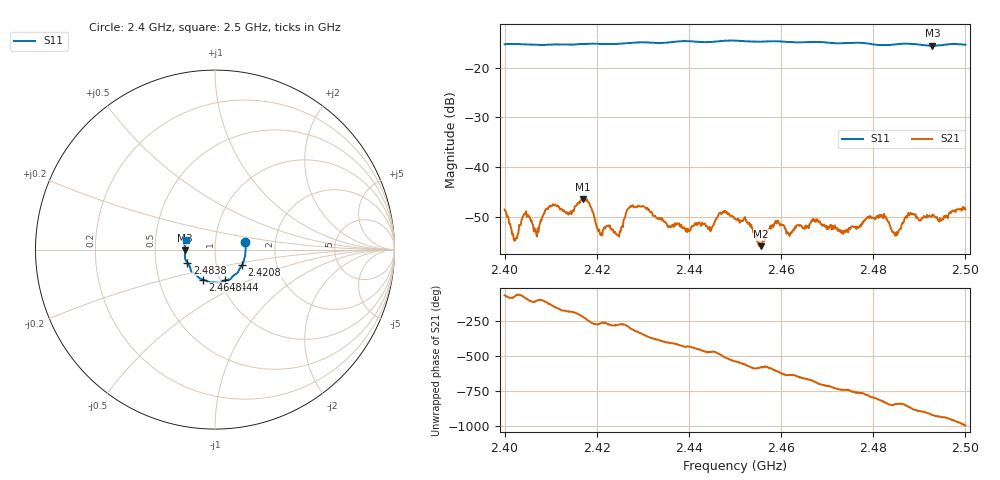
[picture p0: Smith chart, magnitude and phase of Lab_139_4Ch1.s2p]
# Hz S RI R 50
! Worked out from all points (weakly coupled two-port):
!   601 points, 2.4 GHz to 2.5 GHz, reference 50 ohm
!   highest |S21| = -46.37 dB at 2.417 GHz (marker M1); lowest = -55.9 dB at 2.4557 GHz (marker M2)
!   lowest |S11| = -15.6 dB at 2.4928 GHz (marker M3), VSWR 1.40, Z = 35.7 - j0.332 ohm
!   |S11| at or under -10 dB: start of sweep to end of sweep
!   S12 and S22 are empty: the file has one direction only
!   S11 on the Smith chart (normalised r, x): 2.4 GHz: 1.40, +0.12; 2.4208 GHz: 1.33, -0.24; 2.444 GHz: 1.06, -0.37; 2.4648 GHz: 0.83, -0.29; 2.4838 GHz: 0.73, -0.11; 2.5 GHz: 0.72, +0.08
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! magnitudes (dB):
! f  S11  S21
! 2.4 GHz  -15.3  -48.5
! 2.4023 GHz  -15.2  -54.5
! 2.4045 GHz  -15.3  -49.4
! 2.4068 GHz  -15.4  -53.2
! 2.4093 GHz  -15.4  -48.4
! 2.4167 GHz  -15.2  -46.6
! 2.417 GHz  -15.2  -46.4
! 2.4208 GHz  -15.2  -53.6
! 2.4247 GHz  -15.2  -53.7
! 2.4273 GHz  -15.0  -47.8
! 2.4333 GHz  -15.0  -50.3
! 2.444 GHz  -14.9  -51.9
! 2.45 GHz  -14.5  -50.4
! 2.4557 GHz  -14.8  -55.9
! 2.459 GHz  -14.7  -51.3
! 2.4648 GHz  -14.9  -52.1
! 2.4667 GHz  -14.8  -50.6
! 2.4735 GHz  -15.1  -53.4
! 2.4833 GHz  -15.4  -50.9
! 2.4838 GHz  -15.4  -52.3
! 2.4928 GHz  -15.6  -49.6
! 2.5 GHz  -15.4  -48.5
